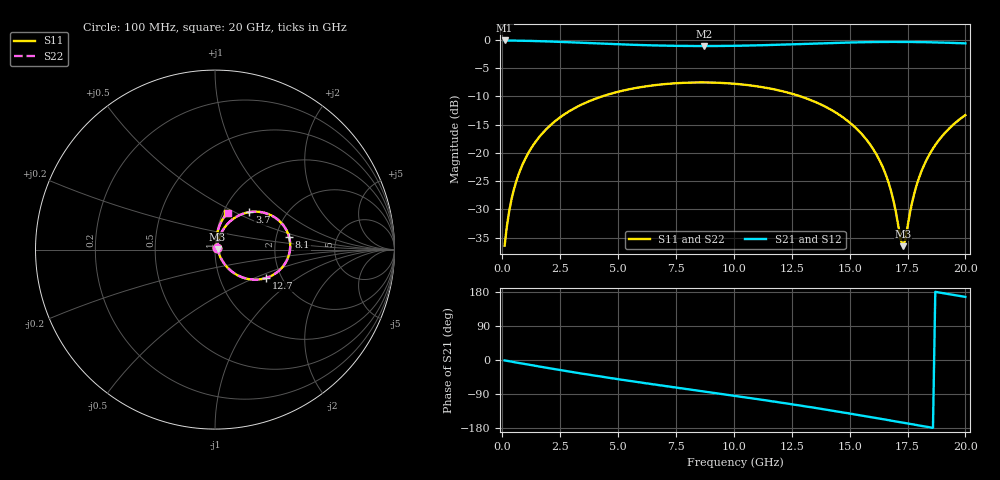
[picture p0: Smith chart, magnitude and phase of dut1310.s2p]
! Touchstone file exported from HFSS 2026.1.0
!  File:  C:/ffzhzh/LocalFiles/Ansys_Project_Files/temp_train_TSV_RDL_1310_1783335164_38820.aedt
!  Generated:  06:59:53 PM Jul  6, 2026
!  Design:  TSV_RDL
!  Project:  temp_train_TSV_RDL_1310_1783335164_38820
! Variables:
!  h_bsmrdl = 5.93um
!  h_ox = 20um
!  h_rdl = 5um
!  h_sub = 60.42um
!  h_tmrdl = 5.03um
!  h_tsv = 60.42um
!  h_via = 3um
!  l_bsmrdl = 398.07um
!  l_sub = 3194.94um
!  l_tmrdl = 371.27um
!  m_sub = 200um
!  pitch = 43.62um
!  r_tsv = 13.39um
!  s_tmrdl = 10um
!  w_bsmrdl = 24.94um
!  w_sub = 500um
!  w_tmrdl = 13.61um
!  x_tsv_center1 = 378.075um
!  x_tsv_center2 = 801.085um
!  x_tsv_center3 = 1185.965um
!  x_tsv_center4 = 1608.975um
!  x_tsv_center5 = 1993.855um
!  x_tsv_center6 = 2416.865um
# GHz S MA R 50.000000
! Terminal data exported
! Port[1] = TM_RDL1_1_T1
! Port[2] = TM_RDL5_1_T1
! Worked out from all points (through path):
!   200 points, 100 MHz to 20 GHz, reference 50 ohm
!   highest |S21| = -0.10 dB at 100 MHz (marker M1); lowest = -1.1 dB at 8.7 GHz (marker M2)
!   group delay of S21, straight-line fit = 26.1 ps
!   lowest |S11| = -36.5 dB at 17.3 GHz (marker M3), VSWR 1.03, Z = 51.5 + j0.29 ohm
!   |S11| at or under -10 dB: start of sweep to 4.313 GHz; 12.88 GHz to end of sweep
!   |S22| runs from -36.4 to -7.5 dB; largest |S21 - S12| = 1.7e-14
!   S11 on the Smith chart (normalised r, x): 100 MHz: 1.02, +0.02; 3.7 GHz: 1.32, +0.60; 8.1 GHz: 2.36, +0.40; 12.7 GHz: 1.66, -0.59; 20 GHz: 1.05, +0.45
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0.1  0.0151 38.6  0.9883 -1.1  0.9883 -1.1  0.0151 38.6
! Gamma 0 0 0 0
! Port Impedance 50 0 50 0
0.3  0.0307 62.2  0.9869 -3.3  0.9869 -3.3  0.0307 62.2
0.5  0.04737 67.9  0.9854 -5.5  0.9854 -5.5  0.04737 67.9
1.1  0.09772 69.3  0.9802 -11.9  0.9802 -11.9  0.09772 69.3
2.1  0.1775 62.0  0.9668 -22.4  0.9668 -22.4  0.1775 62.0
3.5  0.2721 49.3  0.9416 -36.5  0.9416 -36.5  0.2721 49.3
3.7  0.2837 47.4  0.9378 -38.4  0.9378 -38.4  0.2837 47.4
6.8  0.4022 20.4  0.891 -66.7  0.891 -66.7  0.4022 20.4
8.1  0.4188 9.6  0.8829 -77.9  0.8829 -77.9  0.4188 9.6
8.7  0.4202 4.6  0.882 -83.0  0.882 -83.0  0.4202 4.7
10.1  0.4079 -6.9  0.8868 -95.1  0.8868 -95.1  0.4079 -6.9
12.7  0.325 -29.2  0.9162 -118.6  0.9162 -118.6  0.325 -29.1
13.4  0.289 -35.3  0.9265 -125.3  0.9265 -125.3  0.289 -35.3
15.5  0.1486 -53.1  0.9531 -146.4  0.9531 -146.4  0.1486 -52.9
16.2  0.09346 -56.8  0.958 -153.7  0.958 -153.7  0.0935 -56.5
16.7  0.05312 -54.8  0.9598 -159.0  0.9598 -159.0  0.05322 -54.3
17.3  0.01495 10.9  0.9596 -165.3  0.9596 -165.3  0.01548 11.1
17.4  0.01695 39.7  0.9594 -166.4  0.9594 -166.4  0.01745 39.1
17.8  0.04439 77.8  0.9577 -170.7  0.9577 -170.7  0.04462 77.1
18.3  0.08492 82.2  0.954 -175.9  0.954 -175.9  0.08507 81.8
19  0.1412 79.1  0.9464 176.7  0.9464 176.7  0.1413 78.8
20  0.2161 71.2  0.9315 166.5  0.9315 166.5  0.2162 71.1
